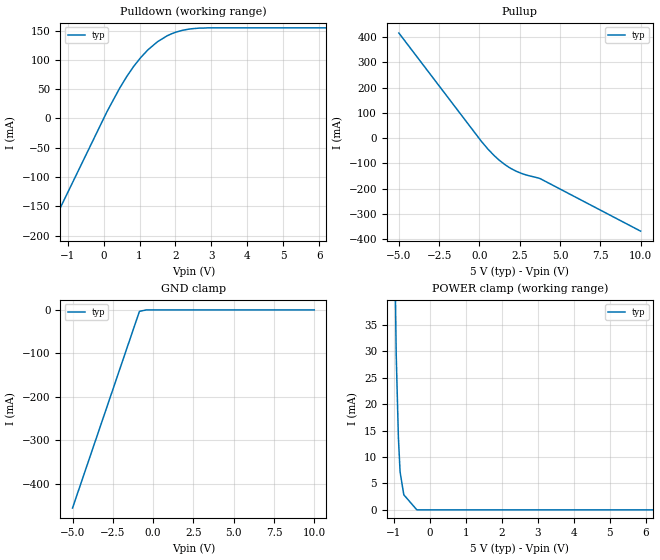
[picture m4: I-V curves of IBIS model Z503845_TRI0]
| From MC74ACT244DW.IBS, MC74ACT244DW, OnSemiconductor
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| (C) COPYRIGHT 1993-2000
| MENTOR GRAPHICS CORPORATION
| ICX STANDARD LIBRARY, ICX PROJECT MODELING,
| ICX CUSTOM MODELING, ICX VENDOR MODEL
| ALL RIGHTS RESERVED.
| THE FOLLOWING ARE TRADEMARKS OR SERVICE MARKS OF
| MENTOR GRAPHICS CORPORATION:ICX (R), ICX STANDARD
| LIBRARY(R), ICX PROJECT MODELING(R), ICX CUSTOM
| MODELING(R), qualityIBIS(TM), MODELVIEWER(TM),
| AND MODELEDITOR(TM)
| ALL COPIES OF SOFTWARE, INCLUDING BUT NOT LIMITED TO
| ANY MODIFICATIONS, ENHANCEMENTS OR DERIVATIVE WORKS,
| MUST CONTAIN ALL MENTOR GRAPHICS CORPORATION'S
| NOTICES AND LEGENDS, INCLUDING THOSE EMBEDDED IN
| SOFTWARE AND THOSE AFFIXED TO SOFTWARE MEDIUM
| AND CONTAINER, AS RECEIVED FROM MENTOR GRAPHICS
| CORPORATION.
| Model Application Version 1.89 2/18/99.
[Model] Z503845_TRI0
Model_type 3-state
Vref=0.000V
Rref=500.0ohms
Cref=50.00pF
Vmeas=1.500V
C_comp 8.000pF NA NA
| variable typ   min   max
[Voltage Range] 5.000V NA NA
[POWER Clamp Reference] 5.000V NA NA
[Pullup Reference] 5.000V NA NA
[Pulldown Reference] 0.000V NA NA
[GND Clamp Reference] 0.000V NA NA
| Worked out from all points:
|   slope of the pulldown table from 0 to 0.75 V, typ, clamps not added: 9.21 ohm
|   slope of the pullup table from 0 to 0.75 V, typ, clamps not added: 13.5 ohm
[GND Clamp]
-5V       -455.2mA   NA         NA
-848.6mV  -3.355mA   NA         NA
-424.3mV  0A         NA         NA
10V       0A         NA         NA
[Pulldown]
-5V       -632.6mA   NA         NA
95.83mV   11.79mA    NA         NA
450.2mV   52.05mA    NA         NA
648.7mV   72mA       NA         NA
847.2mV   89.83mA    NA         NA
1.032V    104mA      NA         NA
1.236V    117.4mA    NA         NA
1.504V    131.3mA    NA         NA
1.887V    144.6mA    NA         NA
2.355V    152.5mA    NA         NA
2.895V    154.9mA    NA         NA
10V       154.9mA    NA         NA
[Pullup]
-5V       415.9mA    NA         NA
114mV     -12.1mA    NA         NA
518mV     -42.63mA   NA         NA
1.207V    -86.01mA   NA         NA
1.816V    -114.6mA   NA         NA
2.3V      -131.3mA   NA         NA
2.783V    -143.2mA   NA         NA
3.765V    -159.9mA   NA         NA
10V       -367.7mA   NA         NA
[POWER Clamp]
-5V       2.049A     NA         NA
-938mV    29.36mA    NA         NA
-877mV    13.65mA    NA         NA
-830mV    7.169mA    NA         NA
-726mV    2.842mA    NA         NA
-363mV    0A         NA         NA
10V       0A         NA         NA
[Ramp]
| variable typ min max
dV/dt_r 2.946/728.3p NA NA
dV/dt_f 2.946/458.3p NA NA
R_load = 500.0Ohms
